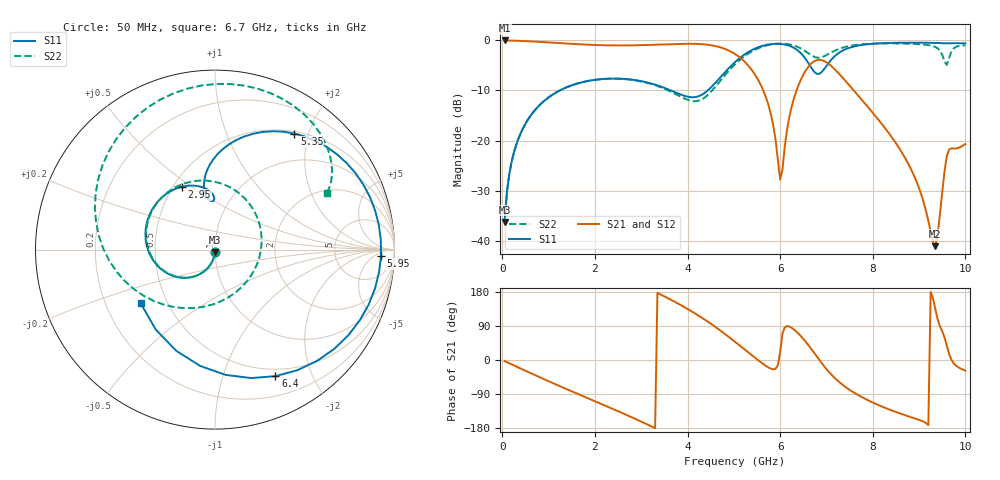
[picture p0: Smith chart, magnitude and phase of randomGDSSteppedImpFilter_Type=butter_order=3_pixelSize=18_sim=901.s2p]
! freq	dB(S11)	phase(S11)	dB(S12)	phase(S12)
!  dB(S21)	phase(S21)	dB(S22)	phase(S22)
!S-par simulation data
#  GHz  S  DB  R 50
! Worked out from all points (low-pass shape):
!   200 points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, 50 MHz to 10 GHz, reference 50 ohm
!   highest |S21| = 0.00 dB at 50 MHz (marker M1); lowest = -41.1 dB at 9.35 GHz (marker M2)
!   |S21| within 3 dB of the highest: start of sweep to 5.071 GHz
!   lowest |S11| = -36.3 dB at 50 MHz (marker M3), VSWR 1.03, Z = 49.9 - j1.53 ohm
!   |S11| at or under -10 dB: start of sweep to 1.241 GHz; 3.64 GHz to 4.435 GHz (795 MHz wide, 19.7 % of centre)
!   |S22| runs from -36.3 to -0.6 dB; largest |S21 - S12| = 0
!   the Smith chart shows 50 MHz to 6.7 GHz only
!   S11 on the Smith chart (normalised r, x): 50 MHz: 1.00, -0.03; 2.95 GHz: 0.55, +0.46; 5.35 GHz: 0.53, +1.77; 5.95 GHz: 21, -10; 6.4 GHz: 0.42, -1.50; 6.7 GHz: 0.35, -0.29
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0.05  -36.28 -92.8  -0.00 -2.9  -0.00 -2.9  -36.28 -92.8
0.2  -24.32 -101.7  -0.03 -11.5  -0.03 -11.5  -24.32 -101.7
0.5  -16.65 -118.9  -0.13 -28.4  -0.13 -28.4  -16.65 -119.0
1.75  -8.30 174.6  -0.82 -95.8  -0.82 -95.8  -8.30 172.4
2.95  -8.05 117.7  -0.95 -159.7  -0.95 -159.7  -8.10 102.2
3.4  -9.14 100.1  -0.82 174.1  -0.82 174.1  -9.28 68.2
4.4  -10.28 99.5  -0.83 104.3  -0.83 104.3  -11.20 -73.8
5.05  -4.13 79.0  -2.86 45.6  -2.86 45.6  -4.55 -173.9
5.35  -2.12 55.6  -5.46 16.1  -5.46 16.1  -2.40 149.2
5.75  -0.80 18.6  -13.00 -19.8  -13.00 -19.8  -0.91 104.8
5.95  -0.67 -2.2  -23.71 -14.1  -23.71 -14.1  -0.66 84.5
6  -0.70 -7.8  -27.80 20.6  -27.80 20.6  -0.65 79.6
6.4  -2.14 -64.5  -8.86 69.0  -8.86 69.0  -1.39 43.5
6.7  -5.83 -144.1  -4.38 24.5  -4.38 24.5  -3.11 27.0
6.95  -5.73 117.0  -4.12 -16.6  -4.12 -16.6  -3.16 24.4
7.15  -3.40 66.5  -5.51 -44.1  -5.51 -44.1  -2.18 17.1
7.6  -1.19 10.1  -10.11 -86.6  -10.11 -86.6  -0.95 -9.0
8.35  -0.51 -36.3  -18.57 -130.3  -18.57 -130.3  -0.59 -49.8
8.95  -0.45 -61.3  -28.33 -155.9  -28.33 -155.9  -0.72 -79.8
9.35  -0.50 -75.6  -41.12 135.4  -41.12 135.4  -1.31 -102.7
9.6  -0.59 -83.5  -23.05 37.2  -23.05 37.2  -4.89 -100.5
10  -0.59 -96.2  -20.70 -28.1  -20.70 -28.1  -0.99 -119.4
